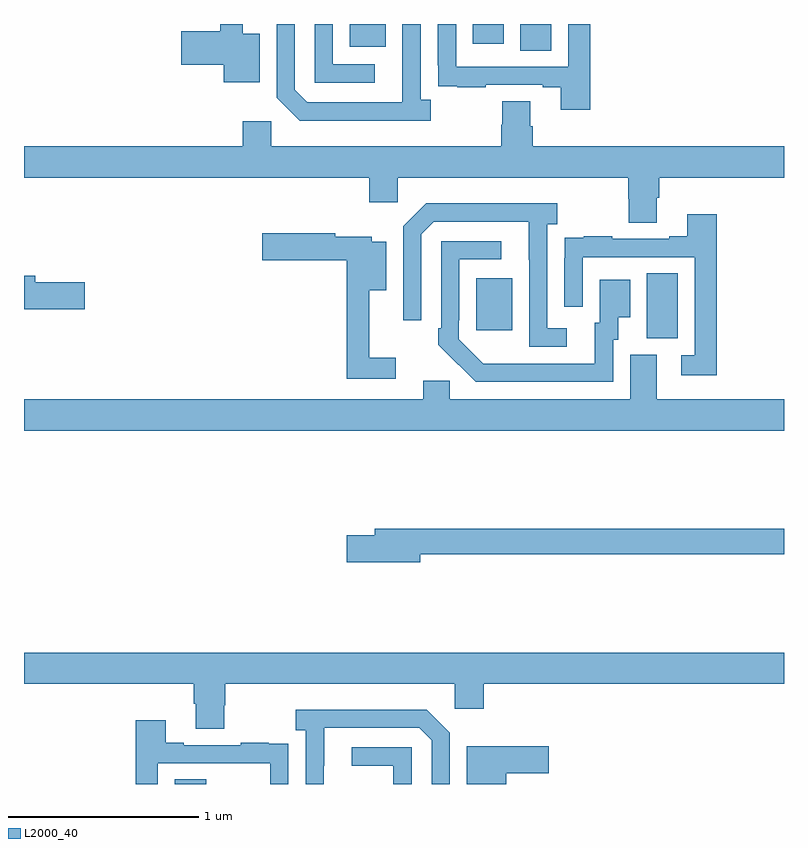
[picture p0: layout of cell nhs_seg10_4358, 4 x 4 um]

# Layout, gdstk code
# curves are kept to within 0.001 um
import gdstk
lib = gdstk.Library(unit=1e-6, precision=1e-09)
def R(c, l, rs):  # rectangles x0, y0, x1, y1
    for r in rs: c.add(gdstk.rectangle(r[:2], r[2:], *l))
def P(c, l, *ps):  # polygons
    for p in ps: c.add(gdstk.Polygon(p, *l))
L2000_40 = (2000, 40)

nhs_seg10_4358 = lib.new_cell('nhs_seg10_4358')
R(nhs_seg10_4358, L2000_40, [(357.794,1254.5,357.958,1254.524), (360.278,1256.845,360.442,1257.188), (359.381,1256.889,359.569,1257.163), (359.612,1258.36,359.776,1258.5), (358.715,1258.379,358.903,1258.5), (359.363,1258.395,359.524,1258.5)])
P(nhs_seg10_4358, L2000_40, [(359.14,1258.102),(359.088,1258.102),(359.088,1258.5),(358.992,1258.5),(358.992,1258.089),(358.491,1258.089),(358.425,1258.155),(358.425,1258.5),(358.329,1258.5),(358.329,1258.113),(358.45,1257.992),(359.14,1257.992)],
  [(358.24,1258.45),(358.151,1258.45),(358.151,1258.5),(358.033,1258.5),(358.033,1258.463),(357.828,1258.463),(357.828,1258.285),(358.052,1258.285),(358.052,1258.193),(358.24,1258.193)],
  [(358.846,1258.287),(358.626,1258.287),(358.626,1258.5),(358.53,1258.5),(358.53,1258.191),(358.846,1258.191)],
  [(359.981,1258.5),(359.865,1258.5),(359.865,1258.275),(359.274,1258.275),(359.274,1258.5),(359.178,1258.5),(359.178,1258.282),(359.179,1258.282),(359.179,1258.173),(359.281,1258.173),(359.281,1258.167),(359.429,1258.167),(359.429,1258.179),(359.729,1258.179),(359.729,1258.167),(359.825,1258.167),(359.825,1258.05),(359.981,1258.05)],
  [(358.151,1257.988),(358.151,1257.856),(357,1257.856),(357,1257.692),(358.817,1257.692),(358.817,1257.561),(358.968,1257.561),(358.968,1257.692),(360.179,1257.692),(360.179,1257.579),(360.184,1257.579),(360.184,1257.454),(360.331,1257.454),(360.331,1257.586),(360.344,1257.586),(360.344,1257.692),(361,1257.692),(361,1257.856),(359.678,1257.856),(359.678,1257.962),(359.665,1257.962),(359.665,1258.094),(359.518,1258.094),(359.518,1257.969),(359.513,1257.969),(359.513,1257.856),(358.302,1257.856),(358.302,1257.988)],
  [(359.857,1256.898),(359.754,1256.898),(359.754,1257.446),(359.806,1257.446),(359.806,1257.556),(359.116,1257.556),(358.995,1257.435),(358.995,1256.94),(359.091,1256.94),(359.091,1257.393),(359.157,1257.459),(359.657,1257.459),(359.658,1256.802),(359.857,1256.802)],
  [(360.647,1257.499),(360.491,1257.499),(360.491,1257.382),(360.395,1257.382),(360.395,1257.369),(360.095,1257.369),(360.095,1257.382),(359.947,1257.382),(359.947,1257.375),(359.845,1257.375),(359.845,1257.266),(359.844,1257.266),(359.844,1257.012),(359.94,1257.012),(359.94,1257.273),(360.531,1257.273),(360.531,1256.757),(360.459,1256.757),(360.459,1256.652),(360.647,1256.652)],
  [(358.957,1256.743),(358.817,1256.743),(358.817,1257.098),(358.906,1257.098),(358.906,1257.355),(358.83,1257.355),(358.83,1257.379),(358.638,1257.379),(358.638,1257.399),(358.254,1257.399),(358.254,1257.257),(358.699,1257.257),(358.699,1256.634),(358.957,1256.634)],
  [(360.102,1256.838),(360.127,1256.838),(360.127,1256.957),(360.19,1256.957),(360.19,1257.154),(360.029,1257.154),(360.029,1256.928),(360.005,1256.928),(360.005,1256.712),(359.418,1256.713),(359.289,1256.841),(359.289,1256.941),(359.292,1256.941),(359.292,1257.261),(359.512,1257.261),(359.512,1257.357),(359.196,1257.357),(359.196,1256.899),(359.181,1256.899),(359.181,1256.811),(359.378,1256.616),(360.102,1256.616)],
  [(357.319,1257.14),(357.058,1257.14),(357.058,1257.176),(357,1257.176),(357,1256.998),(357.319,1256.998)],
  [(361,1256.524),(360.331,1256.524),(360.331,1256.76),(360.191,1256.76),(360.191,1256.524),(359.241,1256.524),(359.241,1256.622),(359.102,1256.622),(359.102,1256.524),(357,1256.524),(357,1256.36),(361,1256.36)],
  [(359.086,1255.708),(361,1255.708),(361,1255.844),(358.847,1255.844),(358.847,1255.808),(358.698,1255.808),(358.698,1255.666),(359.086,1255.666)],
  [(358.053,1254.915),(358.058,1254.915),(358.058,1255.028),(359.268,1255.028),(359.268,1254.897),(359.42,1254.897),(359.42,1255.028),(361,1255.028),(361,1255.192),(357,1255.192),(357,1255.028),(357.893,1255.028),(357.893,1254.922),(357.905,1254.922),(357.905,1254.79),(358.053,1254.79)],
  [(358.578,1254.595),(358.579,1254.795),(359.079,1254.795),(359.145,1254.729),(359.145,1254.5),(359.241,1254.5),(359.241,1254.771),(359.12,1254.892),(358.431,1254.892),(358.431,1254.782),(358.482,1254.782),(358.482,1254.5),(358.578,1254.5)],
  [(357.705,1254.609),(358.296,1254.609),(358.296,1254.5),(358.392,1254.5),(358.392,1254.602),(358.391,1254.602),(358.391,1254.711),(358.289,1254.711),(358.289,1254.718),(358.141,1254.718),(358.141,1254.705),(357.841,1254.705),(357.841,1254.718),(357.745,1254.718),(357.745,1254.835),(357.589,1254.835),(357.589,1254.5),(357.705,1254.5)],
  [(359.537,1254.557),(359.761,1254.557),(359.761,1254.699),(359.33,1254.699),(359.33,1254.5),(359.537,1254.5)],
  [(359.04,1254.693),(358.725,1254.693),(358.725,1254.597),(358.944,1254.597),(358.944,1254.5),(359.04,1254.5)])

lib.write_gds('nhs_seg10_4358.gds')
